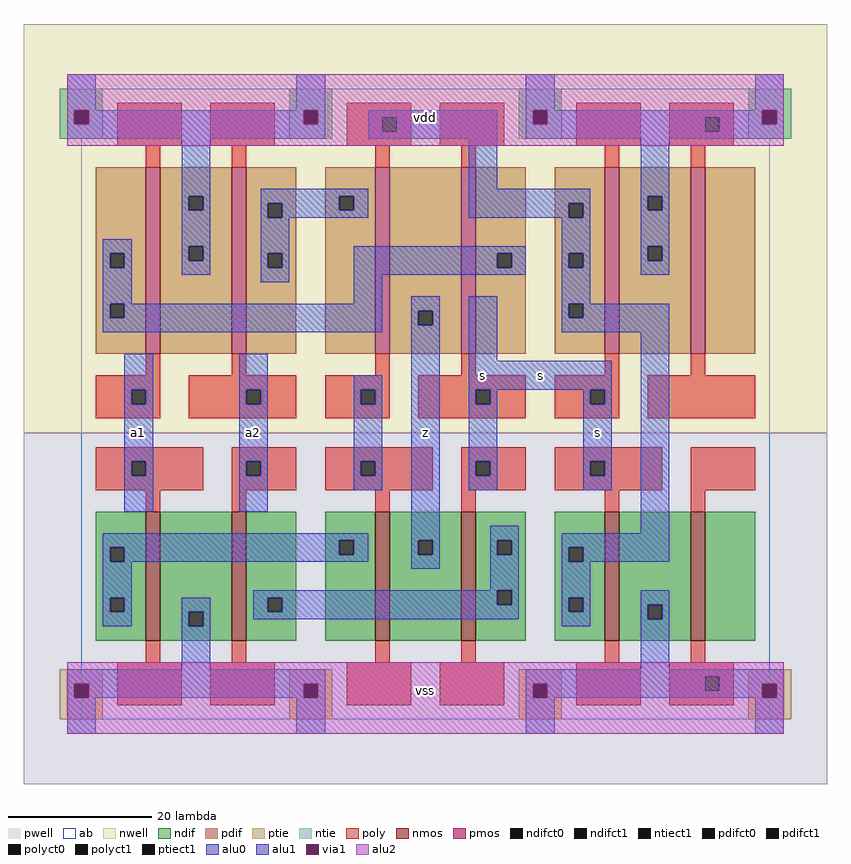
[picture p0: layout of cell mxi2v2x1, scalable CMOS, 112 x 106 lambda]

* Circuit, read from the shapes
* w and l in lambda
.subckt mxi2v2x1 a1 a2 s vdd vss z
M1 vss a1 n1 vss nfet w=18 l=2
M2 n2 a2 vss vss nfet w=18 l=2
M3 z n3 n1 vss nfet w=18 l=2
M4 n2 s z vss nfet w=18 l=2
M5 vss s n3 vss nfet w=18 l=2
M6 n4 vss vss vss nfet w=18 l=2
M7 vdd a1 n5 vdd pfet w=26 l=2
M8 n6 a2 vdd vdd pfet w=26 l=2
M9 z n3 n6 vdd pfet w=26 l=2
M10 n5 s z vdd pfet w=26 l=2
M11 vdd s n3 vdd pfet w=26 l=2
M12 n7 vdd vdd vdd pfet w=26 l=2
.ends

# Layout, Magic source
magic
tech scmos
<< ab >>
rect 0 0 96 88
<< nwell >>
rect -8 40 104 97
<< pwell >>
rect -8 -9 104 40
<< poly >>
rect 5 80 14 86
rect 18 80 27 86
rect 37 84 46 86
rect 37 82 42 84
rect 44 82 46 84
rect 37 80 46 82
rect 50 80 59 86
rect 69 80 78 86
rect 82 84 91 86
rect 82 82 87 84
rect 89 82 91 84
rect 82 80 91 82
rect 9 77 11 80
rect 21 77 23 80
rect 41 77 43 80
rect 53 77 55 80
rect 73 77 75 80
rect 85 77 87 80
rect 9 48 11 51
rect 21 48 23 51
rect 41 48 43 51
rect 53 48 55 51
rect 73 48 75 51
rect 85 48 87 51
rect 2 46 11 48
rect 2 44 7 46
rect 9 44 11 46
rect 2 42 11 44
rect 15 46 30 48
rect 15 44 23 46
rect 25 44 30 46
rect 15 42 30 44
rect 34 46 43 48
rect 34 44 39 46
rect 41 44 43 46
rect 34 42 43 44
rect 47 46 62 48
rect 47 44 55 46
rect 57 44 62 46
rect 47 42 62 44
rect 66 46 75 48
rect 66 44 71 46
rect 73 44 75 46
rect 66 42 75 44
rect 79 42 94 48
rect 2 36 17 38
rect 2 34 7 36
rect 9 34 17 36
rect 2 32 17 34
rect 21 36 30 38
rect 21 34 23 36
rect 25 34 30 36
rect 21 32 30 34
rect 34 36 49 38
rect 34 34 39 36
rect 41 34 49 36
rect 34 32 49 34
rect 53 36 62 38
rect 53 34 55 36
rect 57 34 62 36
rect 53 32 62 34
rect 66 36 81 38
rect 66 34 71 36
rect 73 34 81 36
rect 66 32 81 34
rect 85 32 94 38
rect 9 29 11 32
rect 21 29 23 32
rect 41 29 43 32
rect 53 29 55 32
rect 73 29 75 32
rect 85 29 87 32
rect 9 8 11 11
rect 21 8 23 11
rect 41 8 43 11
rect 53 8 55 11
rect 73 8 75 11
rect 85 8 87 11
rect 5 2 14 8
rect 18 2 27 8
rect 37 2 46 8
rect 50 2 59 8
rect 69 2 78 8
rect 82 6 91 8
rect 82 4 87 6
rect 89 4 91 6
rect 82 2 91 4
<< ndif >>
rect 2 24 9 29
rect 2 22 4 24
rect 6 22 9 24
rect 2 17 9 22
rect 2 15 4 17
rect 6 15 9 17
rect 2 11 9 15
rect 11 15 21 29
rect 11 13 15 15
rect 17 13 21 15
rect 11 11 21 13
rect 23 17 30 29
rect 23 15 26 17
rect 28 15 30 17
rect 23 11 30 15
rect 34 25 41 29
rect 34 23 36 25
rect 38 23 41 25
rect 34 11 41 23
rect 43 25 53 29
rect 43 23 47 25
rect 49 23 53 25
rect 43 11 53 23
rect 55 25 62 29
rect 55 23 58 25
rect 60 23 62 25
rect 55 18 62 23
rect 55 16 58 18
rect 60 16 62 18
rect 55 11 62 16
rect 66 24 73 29
rect 66 22 68 24
rect 70 22 73 24
rect 66 17 73 22
rect 66 15 68 17
rect 70 15 73 17
rect 66 11 73 15
rect 75 16 85 29
rect 75 14 79 16
rect 81 14 85 16
rect 75 11 85 14
rect 87 11 94 29
<< pdif >>
rect 2 65 9 77
rect 2 63 4 65
rect 6 63 9 65
rect 2 58 9 63
rect 2 56 4 58
rect 6 56 9 58
rect 2 51 9 56
rect 11 73 21 77
rect 11 71 15 73
rect 17 71 21 73
rect 11 66 21 71
rect 11 64 15 66
rect 17 64 21 66
rect 11 51 21 64
rect 23 72 30 77
rect 23 70 26 72
rect 28 70 30 72
rect 23 65 30 70
rect 23 63 26 65
rect 28 63 30 65
rect 23 51 30 63
rect 34 73 41 77
rect 34 71 36 73
rect 38 71 41 73
rect 34 51 41 71
rect 43 57 53 77
rect 43 55 47 57
rect 49 55 53 57
rect 43 51 53 55
rect 55 65 62 77
rect 55 63 58 65
rect 60 63 62 65
rect 55 51 62 63
rect 66 72 73 77
rect 66 70 68 72
rect 70 70 73 72
rect 66 65 73 70
rect 66 63 68 65
rect 70 63 73 65
rect 66 58 73 63
rect 66 56 68 58
rect 70 56 73 58
rect 66 51 73 56
rect 75 73 85 77
rect 75 71 79 73
rect 81 71 85 73
rect 75 66 85 71
rect 75 64 79 66
rect 81 64 85 66
rect 75 51 85 64
rect 87 51 94 77
<< alu1 >>
rect -2 85 2 90
rect 30 85 34 90
rect 62 85 66 90
rect 94 85 98 90
rect -2 83 -1 85
rect 1 83 31 85
rect 33 83 34 85
rect -2 81 34 83
rect 62 83 63 85
rect 65 84 95 85
rect 65 83 87 84
rect 62 82 87 83
rect 89 83 95 84
rect 97 83 98 85
rect 89 82 98 83
rect 62 81 98 82
rect 14 73 18 81
rect 14 71 15 73
rect 17 71 18 73
rect 14 66 18 71
rect 14 64 15 66
rect 17 64 18 66
rect 14 62 18 64
rect 46 57 50 59
rect 46 55 47 57
rect 49 55 50 57
rect 6 46 10 51
rect 6 44 7 46
rect 9 44 10 46
rect 6 36 10 44
rect 6 34 7 36
rect 9 34 10 36
rect 6 29 10 34
rect 22 46 26 51
rect 22 44 23 46
rect 25 44 26 46
rect 22 36 26 44
rect 22 34 23 36
rect 25 34 26 36
rect 22 29 26 34
rect 46 25 50 55
rect 54 50 58 59
rect 78 73 82 81
rect 78 71 79 73
rect 81 71 82 73
rect 78 66 82 71
rect 78 64 79 66
rect 81 64 82 66
rect 78 62 82 64
rect 54 46 74 50
rect 54 44 55 46
rect 57 44 58 46
rect 54 36 58 44
rect 54 34 55 36
rect 57 34 58 36
rect 54 32 58 34
rect 70 44 71 46
rect 73 44 74 46
rect 70 36 74 44
rect 70 34 71 36
rect 73 34 74 36
rect 70 32 74 34
rect 46 23 47 25
rect 49 23 50 25
rect 46 21 50 23
rect 14 15 18 17
rect 14 13 15 15
rect 17 13 18 15
rect 78 16 82 18
rect 78 14 79 16
rect 81 14 82 16
rect 14 7 18 13
rect 78 7 82 14
rect -2 5 34 7
rect -2 3 -1 5
rect 1 3 31 5
rect 33 3 34 5
rect -2 -2 2 3
rect 30 -2 34 3
rect 62 6 98 7
rect 62 5 87 6
rect 62 3 63 5
rect 65 4 87 5
rect 89 5 98 6
rect 89 4 95 5
rect 65 3 95 4
rect 97 3 98 5
rect 62 -2 66 3
rect 94 -2 98 3
<< alu2 >>
rect -2 85 98 90
rect -2 83 -1 85
rect 1 83 31 85
rect 33 83 63 85
rect 65 83 95 85
rect 97 83 98 85
rect -2 80 98 83
rect -2 5 98 8
rect -2 3 -1 5
rect 1 3 31 5
rect 33 3 63 5
rect 65 3 95 5
rect 97 3 98 5
rect -2 -2 98 3
<< ptie >>
rect -3 5 3 7
rect -3 3 -1 5
rect 1 3 3 5
rect -3 0 3 3
rect 29 5 35 7
rect 29 3 31 5
rect 33 3 35 5
rect 29 0 35 3
rect 61 5 67 7
rect 61 3 63 5
rect 65 3 67 5
rect 61 0 67 3
rect 93 5 99 7
rect 93 3 95 5
rect 97 3 99 5
rect 93 0 99 3
<< ntie >>
rect -3 85 3 88
rect -3 83 -1 85
rect 1 83 3 85
rect -3 81 3 83
rect 29 85 35 88
rect 29 83 31 85
rect 33 83 35 85
rect 29 81 35 83
rect 61 85 67 88
rect 61 83 63 85
rect 65 83 67 85
rect 61 81 67 83
rect 93 85 99 88
rect 93 83 95 85
rect 97 83 99 85
rect 93 81 99 83
<< nmos >>
rect 9 11 11 29
rect 21 11 23 29
rect 41 11 43 29
rect 53 11 55 29
rect 73 11 75 29
rect 85 11 87 29
<< pmos >>
rect 9 51 11 77
rect 21 51 23 77
rect 41 51 43 77
rect 53 51 55 77
rect 73 51 75 77
rect 85 51 87 77
<< polyct0 >>
rect 42 82 44 84
rect 39 44 41 46
rect 39 34 41 36
<< polyct1 >>
rect 87 82 89 84
rect 7 44 9 46
rect 23 44 25 46
rect 55 44 57 46
rect 71 44 73 46
rect 7 34 9 36
rect 23 34 25 36
rect 55 34 57 36
rect 71 34 73 36
rect 87 4 89 6
<< ndifct0 >>
rect 4 22 6 24
rect 4 15 6 17
rect 26 15 28 17
rect 36 23 38 25
rect 58 23 60 25
rect 58 16 60 18
rect 68 22 70 24
rect 68 15 70 17
<< ndifct1 >>
rect 15 13 17 15
rect 47 23 49 25
rect 79 14 81 16
<< ntiect1 >>
rect -1 83 1 85
rect 31 83 33 85
rect 63 83 65 85
rect 95 83 97 85
<< ptiect1 >>
rect -1 3 1 5
rect 31 3 33 5
rect 63 3 65 5
rect 95 3 97 5
<< pdifct0 >>
rect 4 63 6 65
rect 4 56 6 58
rect 26 70 28 72
rect 26 63 28 65
rect 36 71 38 73
rect 58 63 60 65
rect 68 70 70 72
rect 68 63 70 65
rect 68 56 70 58
<< pdifct1 >>
rect 15 71 17 73
rect 15 64 17 66
rect 47 55 49 57
rect 79 71 81 73
rect 79 64 81 66
<< alu0 >>
rect 40 84 58 85
rect 40 82 42 84
rect 44 82 58 84
rect 40 81 58 82
rect 54 74 58 81
rect 3 65 7 67
rect 3 63 4 65
rect 6 63 7 65
rect 3 58 7 63
rect 25 73 40 74
rect 25 72 36 73
rect 25 70 26 72
rect 28 71 36 72
rect 38 71 40 73
rect 28 70 40 71
rect 54 72 71 74
rect 54 70 68 72
rect 70 70 71 72
rect 25 65 29 70
rect 25 63 26 65
rect 28 63 29 65
rect 25 61 29 63
rect 38 65 62 66
rect 38 63 58 65
rect 60 63 62 65
rect 38 62 62 63
rect 67 65 71 70
rect 67 63 68 65
rect 70 63 71 65
rect 38 58 42 62
rect 3 56 4 58
rect 6 56 42 58
rect 3 54 42 56
rect 38 46 42 48
rect 38 44 39 46
rect 41 44 42 46
rect 38 36 42 44
rect 38 34 39 36
rect 41 34 42 36
rect 38 32 42 34
rect 3 25 40 26
rect 3 24 36 25
rect 3 22 4 24
rect 6 23 36 24
rect 38 23 40 25
rect 6 22 40 23
rect 67 58 71 63
rect 67 56 68 58
rect 70 56 82 58
rect 67 54 82 56
rect 3 17 7 22
rect 57 25 61 27
rect 78 26 82 54
rect 57 23 58 25
rect 60 23 61 25
rect 57 18 61 23
rect 24 17 58 18
rect 3 15 4 17
rect 6 15 7 17
rect 3 13 7 15
rect 24 15 26 17
rect 28 16 58 17
rect 60 16 61 18
rect 28 15 61 16
rect 24 14 61 15
rect 67 24 82 26
rect 67 22 68 24
rect 70 22 82 24
rect 67 17 71 22
rect 67 15 68 17
rect 70 15 71 17
rect 67 13 71 15
<< via1 >>
rect -1 83 1 85
rect 31 83 33 85
rect 63 83 65 85
rect 95 83 97 85
rect -1 3 1 5
rect 31 3 33 5
rect 63 3 65 5
rect 95 3 97 5
<< labels >>
rlabel alu1 8 40 8 40 6 a1
rlabel alu1 24 40 24 40 6 a2
rlabel alu1 48 40 48 40 6 z
rlabel alu1 56 48 56 48 6 s
rlabel alu1 64 48 64 48 6 s
rlabel alu1 72 40 72 40 6 s
rlabel alu2 48 4 48 4 6 vss
rlabel alu2 48 84 48 84 6 vdd
<< end >>
